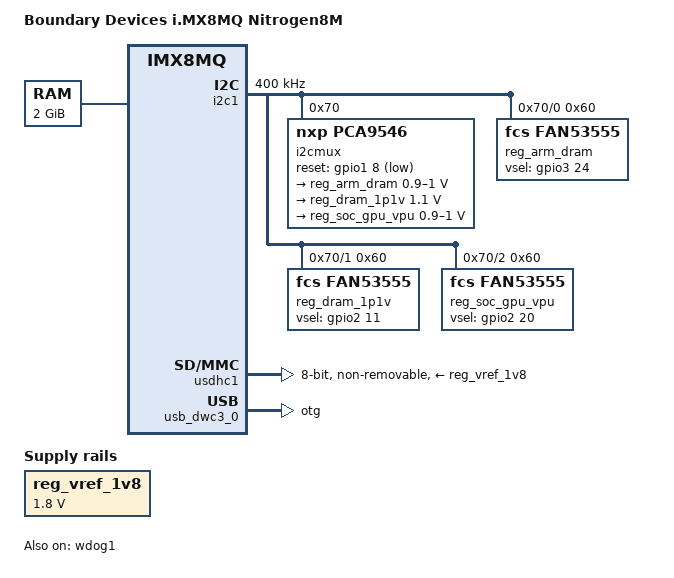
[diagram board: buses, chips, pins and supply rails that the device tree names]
// SPDX-License-Identifier: (GPL-2.0+ OR MIT)
/*
 * Copyright 2018 Boundary Devices
 */

/dts-v1/;

/* First 128KB is for PSCI ATF. */
/memreserve/ 0x40000000 0x00020000;

#include <dt-bindings/input/input.h>
#include "imx8mq.dtsi"

/ {
	model = "Boundary Devices i.MX8MQ Nitrogen8M";
	compatible = "boundary,imx8mq-nitrogen8m", "fsl,imx8mq";

	chosen {
		stdout-path = "serial0:115200n8";
	};

	memory@40000000 {
		device_type = "memory";
		reg = <0x00000000 0x40000000 0 0x80000000>;
	};

	reg_vref_1v8: regulator-vref-1v8 {
		compatible = "regulator-fixed";
		regulator-name = "vref-1v8";
		regulator-min-microvolt = <1800000>;
		regulator-max-microvolt = <1800000>;
	};
};

&i2c1 {
	clock-frequency = <400000>;
	pinctrl-names = "default";
	pinctrl-0 = <&pinctrl_i2c1>;
	status = "okay";

	i2cmux@70 {
		compatible = "nxp,pca9546";
		pinctrl-names = "default";
		pinctrl-0 = <&pinctrl_i2c1_pca9546>;
		reg = <0x70>;
		reset-gpios = <&gpio1 8 GPIO_ACTIVE_LOW>;
		#address-cells = <1>;
		#size-cells = <0>;

		i2c1a: i2c1@0 {
			reg = <0>;
			#address-cells = <1>;
			#size-cells = <0>;

			reg_arm_dram: reg-arm-dram@60 {
				compatible = "fcs,fan53555";
				pinctrl-names = "default";
				pinctrl-0 = <&pinctrl_reg_arm_dram>;
				reg = <0x60>;
				regulator-min-microvolt =  <900000>;
				regulator-max-microvolt = <1000000>;
				regulator-always-on;
				vsel-gpios = <&gpio3 24 GPIO_ACTIVE_HIGH>;
			};
		};

		i2c1b: i2c1@1 {
			reg = <1>;
			#address-cells = <1>;
			#size-cells = <0>;

			reg_dram_1p1v: reg-dram-1p1v@60 {
				compatible = "fcs,fan53555";
				pinctrl-names = "default";
				pinctrl-0 = <&pinctrl_reg_dram_1p1v>;
				reg = <0x60>;
				regulator-min-microvolt = <1100000>;
				regulator-max-microvolt = <1100000>;
				regulator-always-on;
				vsel-gpios = <&gpio2 11 GPIO_ACTIVE_HIGH>;
			};
		};

		i2c1c: i2c1@2 {
			reg = <2>;
			#address-cells = <1>;
			#size-cells = <0>;

			reg_soc_gpu_vpu: reg-soc-gpu-vpu@60 {
				compatible = "fcs,fan53555";
				pinctrl-names = "default";
				pinctrl-0 = <&pinctrl_reg_soc_gpu_vpu>;
				reg = <0x60>;
				regulator-min-microvolt =  <900000>;
				regulator-max-microvolt = <1000000>;
				regulator-always-on;
				vsel-gpios = <&gpio2 20 GPIO_ACTIVE_HIGH>;
			};
		};
	};
};

&usdhc1 {
	assigned-clocks = <&clk IMX8MQ_CLK_USDHC1>;
	assigned-clock-rates = <400000000>;
	bus-width = <8>;
	pinctrl-names = "default";
	pinctrl-0 = <&pinctrl_usdhc1>;
	non-removable;
	vmmc-supply = <&reg_vref_1v8>;
	status = "okay";
};

&usb_dwc3_0 {
	dr_mode = "otg";
	pinctrl-names = "default";
	pinctrl-0 = <&pinctrl_usb3_0>;
	status = "okay";
};

&wdog1 {
	pinctrl-names = "default";
	pinctrl-0 = <&pinctrl_wdog>;
	fsl,ext-reset-output;
	status = "okay";
};

&iomuxc {
	pinctrl-names = "default";
	pinctrl-0 = <&pinctrl_hog>;

	pinctrl_hog: hoggrp {
		fsl,pins = <
			/* test points */
			MX8MQ_IOMUXC_GPIO1_IO04_GPIO1_IO4		0xc1	/* TP87 */
		>;
	};

	pinctrl_i2c1: i2c1grp {
		fsl,pins = <
			MX8MQ_IOMUXC_I2C1_SCL_I2C1_SCL			0x4000007f
			MX8MQ_IOMUXC_I2C1_SDA_I2C1_SDA			0x4000007f
		>;
	};

	pinctrl_i2c1_pca9546: i2c1-pca9546grp {
		fsl,pins = <
			MX8MQ_IOMUXC_GPIO1_IO08_GPIO1_IO8		0x49
		>;
	};

	pinctrl_reg_arm_dram: reg-arm-dramgrp {
		fsl,pins = <
			MX8MQ_IOMUXC_SAI5_RXD3_GPIO3_IO24	0x16
		>;
	};

	pinctrl_reg_dram_1p1v: reg-dram-1p1vgrp {
		fsl,pins = <
			MX8MQ_IOMUXC_SD1_STROBE_GPIO2_IO11	0x16
		>;
	};

	pinctrl_reg_soc_gpu_vpu: reg-soc-gpu-vpugrp {
		fsl,pins = <
			MX8MQ_IOMUXC_SD2_WP_GPIO2_IO20		0x16
		>;
	};

	pinctrl_usb3_0: usb3-0grp {
		fsl,pins = <
			MX8MQ_IOMUXC_GPIO1_IO13_USB1_OTG_OC		0x16
		>;
	};

	pinctrl_usdhc1: usdhc1grp {
		fsl,pins = <
			MX8MQ_IOMUXC_SD1_CLK_USDHC1_CLK			0x83
			MX8MQ_IOMUXC_SD1_CMD_USDHC1_CMD			0xc3
			MX8MQ_IOMUXC_SD1_DATA0_USDHC1_DATA0		0xc3
			MX8MQ_IOMUXC_SD1_DATA1_USDHC1_DATA1		0xc3
			MX8MQ_IOMUXC_SD1_DATA2_USDHC1_DATA2		0xc3
			MX8MQ_IOMUXC_SD1_DATA3_USDHC1_DATA3		0xc3
			MX8MQ_IOMUXC_SD1_DATA4_USDHC1_DATA4		0xc3
			MX8MQ_IOMUXC_SD1_DATA5_USDHC1_DATA5		0xc3
			MX8MQ_IOMUXC_SD1_DATA6_USDHC1_DATA6		0xc3
			MX8MQ_IOMUXC_SD1_DATA7_USDHC1_DATA7		0xc3
			MX8MQ_IOMUXC_SD1_RESET_B_GPIO2_IO10		0x41
		>;
	};

	pinctrl_wdog: wdoggrp {
		fsl,pins = <
		MX8MQ_IOMUXC_GPIO1_IO02_WDOG1_WDOG_B	0xc6
		>;
	};
};
